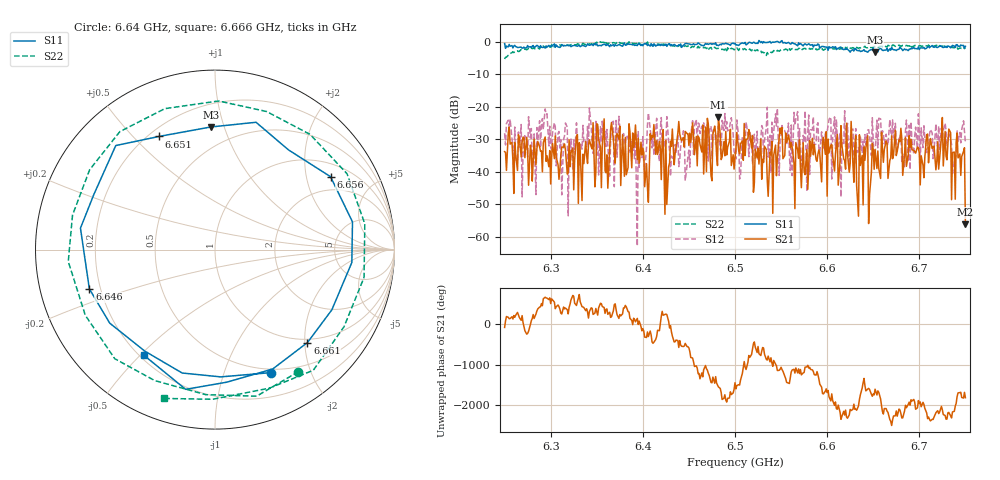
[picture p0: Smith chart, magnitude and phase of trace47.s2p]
# Hz S RI R 50
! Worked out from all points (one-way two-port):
!   401 points, 6.25 GHz to 6.75 GHz, reference 50 ohm
!   highest |S21| = -23.20 dB at 6.482 GHz (marker M1); lowest = -56.2 dB at 6.75 GHz (marker M2)
!   lowest |S11| = -3.3 dB at 6.652 GHz (marker M3), VSWR 5.32, Z = 17.6 + j45.1 ohm
!   |S11| at or under -10 dB: nowhere
!   |S22| runs from -5.3 to 0.0 dB; largest |S21 - S12| = 0.1
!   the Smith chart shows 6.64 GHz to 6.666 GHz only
!   S11 on the Smith chart (normalised r, x): 6.64 GHz: 0.46, -1.45; 6.646 GHz: 0.16, -0.15; 6.651 GHz: 0.24, +0.60; 6.656 GHz: 1.44, +2.78; 6.661 GHz: 0.93, -2.06; 6.666 GHz: 0.22, -0.51
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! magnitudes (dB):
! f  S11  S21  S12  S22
! 6.25 GHz  -0.6  -33.9  -28.2  -5.3
! 6.334 GHz  -1.2  -48.9  -33.1  -0.9
! 6.374 GHz  -0.9  -30.0  -23.0  0.0
! 6.396 GHz  -0.7  -37.5  -38.7  -0.4
! 6.418 GHz  -1.0  -30.7  -36.8  -0.8
! 6.449 GHz  -0.7  -28.3  -35.0  -1.4
! 6.459 GHz  -0.8  -38.2  -30.9  -1.9
! 6.482 GHz  -1.2  -23.2  -26.1  -2.1
! 6.5 GHz  -0.5  -35.6  -34.8  -2.4
! 6.584 GHz  -0.9  -29.8  -27.2  -2.1
! 6.64 GHz  -2.5  -32.4  -36.5  -1.7
! 6.646 GHz  -2.7  -47.1  -29.0  -1.8
! 6.651 GHz  -3.1  -39.3  -36.4  -1.5
! 6.652 GHz  -3.3  -33.3  -35.0  -1.6
! 6.656 GHz  -2.4  -38.9  -23.6  -1.6
! 6.661 GHz  -2.7  -37.1  -28.2  -1.5
! 6.666 GHz  -3.0  -42.1  -32.0  -1.1
! 6.668 GHz  -2.2  -36.6  -24.0  -1.3
! 6.726 GHz  -1.8  -38.3  -27.4  -0.9
! 6.738 GHz  -1.4  -34.0  -36.5  -1.9
! 6.746 GHz  -1.2  -35.3  -27.1  -2.1
! 6.75 GHz  -1.5  -56.2  -31.0  -1.9
